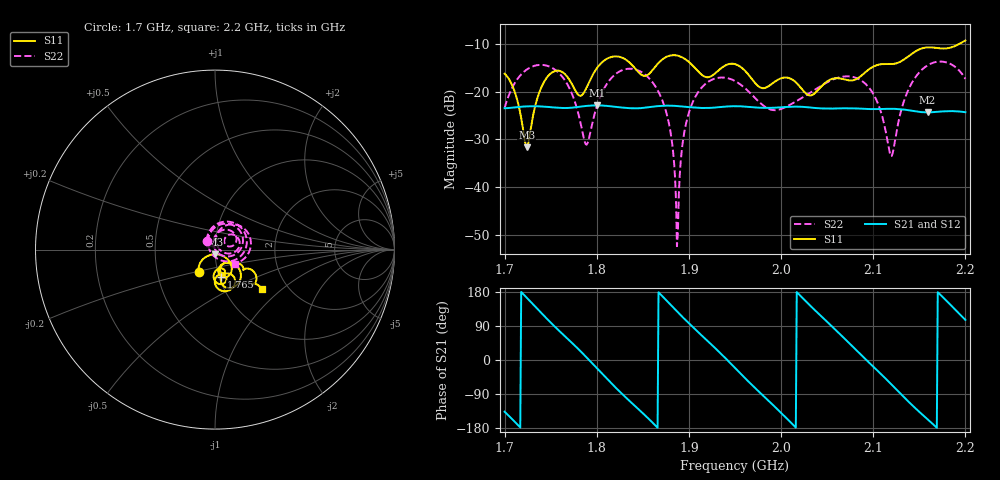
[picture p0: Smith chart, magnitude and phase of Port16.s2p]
# Hz S RI R 50
! CMT, CMT808U, 21440046, 21.4.3/4
! Date: 12/13/2025 11:19:27 PM
! Data: Format (Calibration Info)
! Freq	S11:Re/Im(F2)	S41:Re/Im(F2)	S14:Re/Im(F2)	S44:Re/Im(F2)
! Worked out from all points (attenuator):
!   501 points, 1.7 GHz to 2.2 GHz, reference 50 ohm
!   highest |S21| = -22.89 dB at 1.8 GHz (marker M1); lowest = -24.3 dB at 2.159 GHz (marker M2)
!   lowest |S11| = -31.6 dB at 1.724 GHz (marker M3), VSWR 1.05, Z = 49.9 - j2.61 ohm
!   |S11| at or under -10 dB: start of sweep to 2.193 GHz
!   |S22| runs from -52.4 to -13.7 dB; largest |S21 - S12| = 0.00043
!   S11 on the Smith chart (normalised r, x): 1.7 GHz: 0.81, -0.21; 1.765 GHz: 1.02, -0.31; 2.2 GHz: 1.48, -0.75
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1.7e9  -0.0885 -0.1261  -0.0485 -0.0461  -0.0482 -0.0461  -0.046 0.0495
1.724e9  -0.000316 -0.0262  -0.0674 0.0189  -0.0673 0.0187  0.0671 0.1564
1.742e9  0.0895 -0.0834  -0.0334 0.0613  -0.0335 0.061  0.1676 0.0896
1.765e9  0.0354 -0.15  0.0299 0.0604  0.0297 0.0603  0.1228 -0.0517
1.784e9  0.0543 -0.0742  0.0661 0.0229  0.0659 0.023  -0.00235 -0.0397
1.79e9  0.0902 -0.0732  0.0708 0.00501  0.0707 0.00522  -0.0279 -0.00724
1.8e9  0.1362 -0.1105  0.0667 -0.0263  0.0666 -0.0261  -0.0383 0.0584
1.831e9  0.0585 -0.2098  -0.00897 -0.067  -0.00875 -0.0669  0.1136 0.1286
1.867e9  0.1109 -0.1656  -0.0706 0.00154  -0.0705 0.00132  0.0931 -0.0349
1.88e9  0.0882 -0.2221  -0.059 0.04  -0.059 0.0398  0.0272 -0.0263
1.887e9  0.0561 -0.2322  -0.0438 0.0555  -0.0439 0.0553  0.00206 -0.00124
1.894e9  0.0247 -0.2237  -0.0251 0.0651  -0.0253 0.0649  -0.00888 0.0315
1.904e9  -0.000534 -0.188  0.0031 0.0682  0.00294 0.0681  0.00156 0.0769
1.95e9  0.0269 -0.1922  0.0658 -0.0252  0.0657 -0.0249  0.1193 0.0496
1.991e9  0.0508 -0.1117  -0.032 -0.0597  -0.0317 -0.0597  0.0567 0.0299
2.034e9  0.0539 -0.0752  -0.0502 0.0456  -0.0502 0.0455  0.066 0.076
2.088e9  0.1278 -0.077  0.0651 0.0122  0.0649 0.0123  0.1287 0.00467
2.105e9  0.1587 -0.106  0.0573 -0.0319  0.0574 -0.0316  0.0721 -0.022
2.117e9  0.1574 -0.1136  0.0353 -0.0559  0.0355 -0.0559  0.0251 0.00158
2.139e9  0.2077 -0.1155  -0.0235 -0.0592  -0.0233 -0.0591  0.0236 0.1065
2.159e9  0.2248 -0.1842  -0.0556 -0.0243  -0.0555 -0.0245  0.1311 0.1354
2.2e9  0.2619 -0.2221  -0.0165 0.0586  -0.0167 0.0585  0.1118 -0.0775
